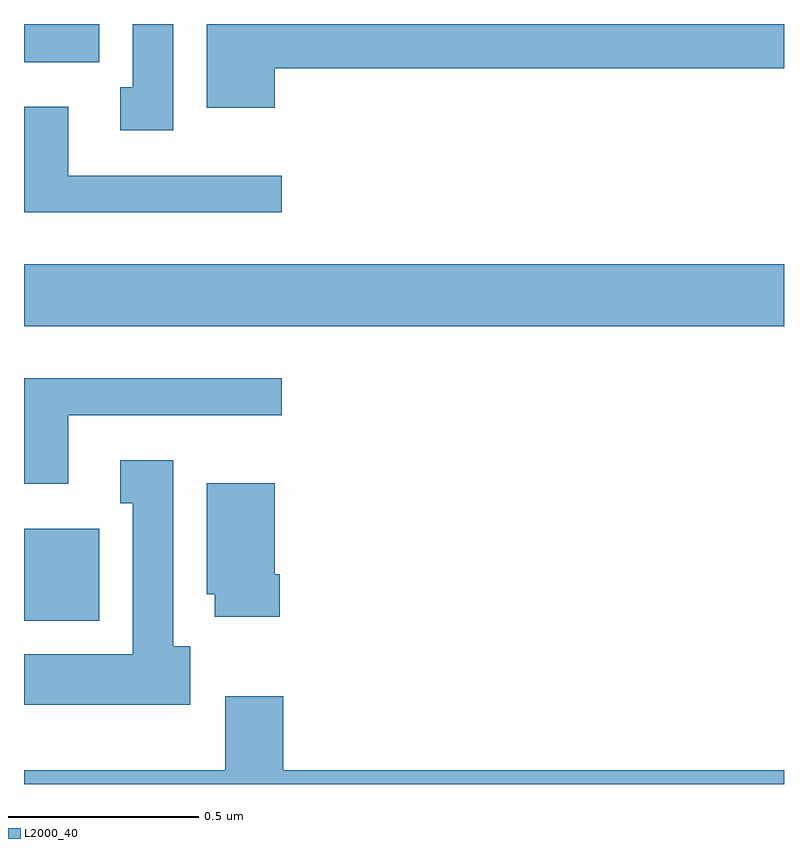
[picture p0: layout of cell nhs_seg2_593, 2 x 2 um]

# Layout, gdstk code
import gdstk
lib = gdstk.Library(unit=1e-6, precision=1e-09)
def R(c, l, rs):  # rectangles x0, y0, x1, y1
    for r in rs: c.add(gdstk.rectangle(r[:2], r[2:], *l))
def P(c, l, *ps):  # polygons
    for p in ps: c.add(gdstk.Polygon(p, *l))
L2000_40 = (2000, 40)

nhs_seg2_593 = lib.new_cell('nhs_seg2_593')
R(nhs_seg2_593, L2000_40, [(118.001,612.23,118.198,612.472), (118,613.004,120,613.168), (118.001,613.7,118.198,613.8)])
P(nhs_seg2_593, L2000_40, [(118.393,613.8),(118.286,613.8),(118.286,613.634),(118.253,613.634),(118.253,613.521),(118.393,613.521)],
  [(118.66,613.684),(120,613.684),(120,613.8),(118.481,613.8),(118.481,613.58),(118.66,613.58)],
  [(118.678,613.401),(118.117,613.401),(118.117,613.582),(118,613.582),(118,613.304),(118.678,613.304)],
  [(118.117,612.771),(118.678,612.771),(118.678,612.868),(118,612.868),(118,612.59),(118.117,612.59)],
  [(118.438,612.162),(118.393,612.162),(118.393,612.652),(118.253,612.652),(118.253,612.539),(118.286,612.539),(118.286,612.142),(118,612.142),(118,612.008),(118.438,612.008)],
  [(118.673,612.352),(118.66,612.352),(118.66,612.592),(118.481,612.592),(118.481,612.3),(118.502,612.3),(118.502,612.24),(118.673,612.24)],
  [(120,611.836),(118.682,611.836),(118.682,612.031),(118.529,612.031),(118.529,611.836),(118,611.836),(118,611.8),(120,611.8)])

lib.write_gds('nhs_seg2_593.gds')
